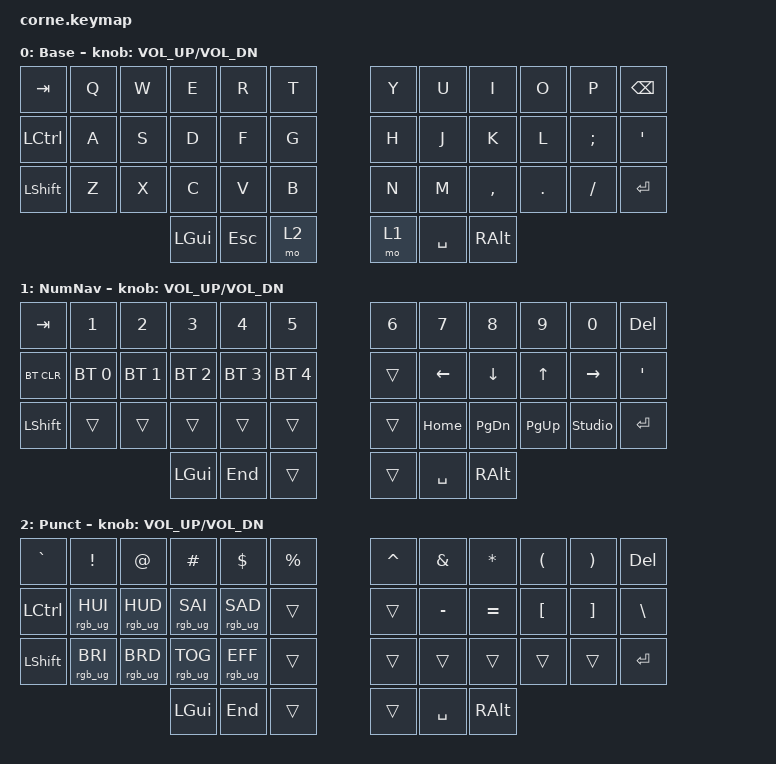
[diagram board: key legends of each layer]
/*
 * Copyright (c) 2020 The ZMK Contributors
 *
 * SPDX-License-Identifier: MIT
 */

#include <behaviors.dtsi>
#include <behaviors/mouse_key_press.dtsi>
#include <dt-bindings/zmk/keys.h>
#include <dt-bindings/zmk/bt.h>
#include <dt-bindings/zmk/ext_power.h>
#include <dt-bindings/zmk/rgb.h>
#include <dt-bindings/zmk/outputs.h>

/ {
        keymap {
                compatible = "zmk,keymap";

                default_layer {
                    display-name = "Base";
                    sensor-bindings = <&inc_dec_kp C_VOL_UP C_VOL_DN>;
// -----------------------------------------------------------------------------------------
// |  TAB |  Q  |  W  |  E  |  R  |  T  |   |  Y  |  U   |  I  |  O  |  P  | BSPC |
// | CTRL |  A  |  S  |  D  |  F  |  G  |   |  H  |  J   |  K  |  L  |  ;  |  '   |
// | SHFT |  Z  |  X  |  C  |  V  |  B  |   |  N  |  M   |  ,  |  .  |  /  | ESC  |
//                    | GUI | ENT | LWR |   | RSE | SPC  | ALT |
                        bindings = <
   &kp TAB   &kp Q &kp W &kp E    &kp R   &kp T      &kp Y &kp U     &kp I     &kp O   &kp P    &kp BSPC
   &kp LCTRL &kp A &kp S &kp D    &kp F   &kp G      &kp H &kp J     &kp K     &kp L   &kp SEMI &kp SQT
   &kp LSHFT &kp Z &kp X &kp C    &kp V   &kp B      &kp N &kp M     &kp COMMA &kp DOT &kp FSLH &kp RET
                         &kp LGUI &kp ESC &mo 2      &mo 1 &kp SPACE &kp RALT
                        >;
                };
                lower_layer {
                    display-name = "NumNav";
                    sensor-bindings = <&inc_dec_kp C_VOL_UP C_VOL_DN>;
// -----------------------------------------------------------------------------------------
// |  TAB |  1  |  2  |  3  |  4  |  5  |   |  6  |  7  |  8    |  9    |  0  | DEL  |
// | BTCLR| BT1 | BT2 | BT3 | BT4 | BT5 |   |     | LFT | DWN   | UP    | RGT |  '   |
// | SHFT |     |     |     |     |     |   |     | HOME| PG_DN | PG_UP |     | END  |
//                    | GUI | ENT |     |   |     | SPC | ALT   |
                        bindings = <
   &kp TAB    &kp N1       &kp N2       &kp N3       &kp N4       &kp N5         &kp N6  &kp N7    &kp N8    &kp N9    &kp N0         &kp DEL
   &bt BT_CLR &bt BT_SEL 0 &bt BT_SEL 1 &bt BT_SEL 2 &bt BT_SEL 3 &bt BT_SEL 4   &trans  &kp LEFT  &kp DOWN  &kp UP    &kp RIGHT      &kp SQT
   &kp LSHFT  &trans       &trans       &trans       &trans       &trans         &trans  &kp HOME  &kp PG_DN &kp PG_UP &studio_unlock &kp RET 
                                        &kp LGUI     &kp END      &trans         &trans  &kp SPACE &kp RALT
                        >;
                };

                raise_layer {
                    display-name = "Punct";
                    sensor-bindings = <&inc_dec_kp C_VOL_UP C_VOL_DN>;
// -----------------------------------------------------------------------------------------
// |  `   |  !  |  @  |  #  |  $  |  %  |   |  ^  |  &  |  *  |  (  |  )  | DEL  |
// | CTRL |     |     |     |     |     |   |     |  -  |  =  |  [  |  ]  |  \   |
// | SHFT |     |     |     |     |     |   |     |     |     |     |     | END  |
//                    | GUI | ENT |     |   |     | SPC | ALT |
                        bindings = <
   &kp GRAVE &kp EXCL        &kp AT          &kp HASH        &kp DLLR          &kp PRCNT   &kp CARET &kp AMPS  &kp ASTRK &kp LPAR &kp RPAR &kp DEL
   &kp LCTRL &rgb_ug RGB_HUI &rgb_ug RGB_HUD &rgb_ug RGB_SAI &rgb_ug RGB_SAD   &trans      &trans    &kp MINUS &kp EQUAL &kp LBKT &kp RBKT &kp BSLH
   &kp LSHFT &rgb_ug RGB_BRI &rgb_ug RGB_BRD &rgb_ug RGB_TOG &rgb_ug RGB_EFF   &trans      &trans    &trans    &trans    &trans   &trans   &kp RET
                                             &kp LGUI        &kp END           &trans      &trans    &kp SPACE &kp RALT
                        >;
                };
        };
};

&led_strip {
    chain-length = <27>;
};
